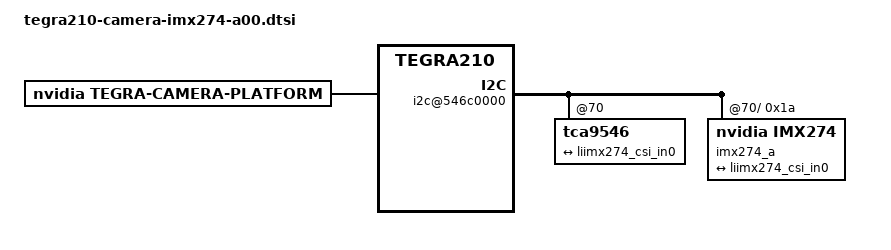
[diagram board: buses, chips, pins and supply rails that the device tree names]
/*
 * Copyright (c) 2016-2017, NVIDIA CORPORATION.  All rights reserved.
 *
 * This program is free software; you can redistribute it and/or modify
 * it under the terms of the GNU General Public License as published by
 * the Free Software Foundation; either version 2 of the License, or
 * (at your option) any later version.
 *
 * This program is distributed in the hope that it will be useful, but WITHOUT
 * ANY WARRANTY; without even the implied warranty of MERCHANTABILITY or
 * FITNESS FOR A PARTICULAR PURPOSE.  See the GNU General Public License for
 * more details.
 *
 * You should have received a copy of the GNU General Public License
 * along with this program.  If not, see <http://www.gnu.org/licenses/>.
 */

#include <dt-bindings/media/camera.h>
#include <dt-bindings/platform/t210/t210.h>

/ {
	host1x {
		vi {
			num-channels = <1>;
			ports {
				#address-cells = <1>;
				#size-cells = <0>;
				port@0 {
					reg = <0>;
					liimx274_vi_in0: endpoint {
						csi-port = <0>;
						bus-width = <4>;
						remote-endpoint = <&liimx274_csi_out0>;
					};
				};
			};
		};

		nvcsi {
			num-channels = <1>;
			#address-cells = <1>;
			#size-cells = <0>;
			channel@0 {
				reg = <0>;
				ports {
					#address-cells = <1>;
					#size-cells = <0>;
					port@0 {
						reg = <0>;
						liimx274_csi_in0: endpoint@0 {
							csi-port = <0>;
							bus-width = <4>;
							remote-endpoint = <&liimx274_imx274_out0>;
						};
					};
					port@1 {
						reg = <1>;
						liimx274_csi_out0: endpoint@1 {
							remote-endpoint = <&liimx274_vi_in0>;
						};
					};
				};
			};
		};

		i2c@546c0000 {
			tca9546@70 {
				i2c@0 {
					imx274_a@1a {
						compatible = "nvidia,imx274";
						/* I2C device address */
						reg = <0x1a>;

						/* Physical dimensions of sensor */
						physical_w = "3.674";
						physical_h = "2.738";

						/* Define any required hw resources needed by driver */
						/* ie. clocks, io pins, power sources */
						avdd-reg = "vana";
						iovdd-reg = "vif";
						dvdd-reg = "vdig";

						/* Defines number of frames to be dropped by driver internally after applying */
						/* sensor crop settings. Some sensors send corrupt frames after applying */
						/* crop co-ordinates */
						/*post_crop_frame_drop = "0";*/

						/* if true, delay gain setting by one frame to be in sync with exposure */
						delayed_gain = "true";

						/**
						* A modeX node is required to support v4l2 driver
						* implementation with NVIDIA camera software stack
						*
						* mclk_khz = "";
						* Standard MIPI driving clock, typically 24MHz
						*
						* num_lanes = "";
						* Number of lane channels sensor is programmed to output
						*
						* tegra_sinterface = "";
						* The base tegra serial interface lanes are connected to
						*
						* discontinuous_clk = "";
						* The sensor is programmed to use a discontinuous clock on MIPI lanes
						*
						* dpcm_enable = "true";
						* The sensor is programmed to use a DPCM modes
						*
						* cil_settletime = "";
						* MIPI lane settle time value.
						* A "0" value attempts to autocalibrate based on mclk_multiplier
						*
						* active_w = "";
						* Pixel active region width
						*
						* active_h = "";
						* Pixel active region height
						*
						* pixel_t = "";
						* The sensor readout pixel pattern
						*
						* readout_orientation = "0";
						* Based on camera module orientation.
						* Only change readout_orientation if you specifically
						* Program a different readout order for this mode
						*
						* line_length = "";
						* Pixel line length (width) for sensor mode.
						* This is used to calibrate features in our camera stack.
						*
						* mclk_multiplier = "";
						* Multiplier to MCLK to help time hardware capture sequence
						* TODO: Assign to PLL_Multiplier as well until fixed in core
						*
						* pix_clk_hz = "";
						* Sensor pixel clock used for calculations like exposure and framerate
						*
						* inherent_gain = "";
						* Gain obtained inherently from mode (ie. pixel binning)
						*
						* min_gain_val = ""; (floor to 6 decimal places)
						* max_gain_val = ""; (floor to 6 decimal places)
						* gain_step_pitch = ""; (floor to 6 decimal places, unit is db)
						* Gain limits for mode
						*
						* min_exp_time = ""; (ceil to integer)
						* max_exp_time = ""; (ceil to integer)
						* exp_time_1h = ""; (ceil to integer)
						* Exposure Time limits for mode (us)
						*
						*
						* min_hdr_ratio = "";
						* max_hdr_ratio = "";
						* HDR Ratio limits for mode
						*
						* min_framerate = "";
						* max_framerate = "";
						* Framerate limits for mode (fps)
						*
						* embedded_metadata_height = "";
						* Sensor embedded metadata height in units of rows.
						* If sensor does not support embedded metadata value should be 0.
						*
						* num_of_exposure = "";
						* Digital overlap(Dol) frames
						*
						* num_of_ignored_lines = "";
						* Used for cropping, eg. OB lines
						*
						* num_of_lines_offset_0 = "";
						* Used for cropping, vertical blanking in front of short exposure data
						* If more Dol frames are used, it can be extended, eg. num_of_lines_offset1
						*
						* num_of_ignored_pixels = "";
						* Used for cropping, The length of line info(pixels)
						*
						*/
						mode0 { // IMX274_MODE_3840X2160
							mclk_khz = "24000";
							num_lanes = "4";
							tegra_sinterface = "serial_a";
							discontinuous_clk = "yes";
							dpcm_enable = "false";
							cil_settletime = "0";

							active_w = "3840";
							active_h = "2160";
							pixel_t = "bayer_rggb";
							readout_orientation = "90";
							line_length = "4200";
							inherent_gain = "1";
							mclk_multiplier = "25";
							pix_clk_hz = "756000000";

							min_gain_val = "1.0";
							max_gain_val = "44.4";
							gain_step_pitch = "0.1";
							min_hdr_ratio = "1";
							max_hdr_ratio = "64";
							min_framerate = "1.462526";
							max_framerate = "30";
							min_exp_time = "16.165";
							max_exp_time = "165770";
							exp_time_1h = "6";
						};
						mode1 { // IMX274_MODE_1920X1080
							mclk_khz = "24000";
							num_lanes = "4";
							tegra_sinterface = "serial_a";
							discontinuous_clk = "yes";
							dpcm_enable = "false";
							cil_settletime = "0";
							dynamic_pixel_bit_depth = "10";
							csi_pixel_bit_depth = "10";
							mode_type = "bayer";
							pixel_phase = "rggb";

							active_w = "1920";
							active_h = "1080";
							readout_orientation = "0";
							line_length = "4160";
							inherent_gain = "1";
							mclk_multiplier = "24";
							pix_clk_hz = "576000000";

							min_gain_val = "1.0";
							max_gain_val = "177";
							gain_step_pitch = "0.1";
							min_hdr_ratio = "1";
							max_hdr_ratio = "1";
							min_framerate = "1.5";
							max_framerate = "60";
							min_exp_time = "58";
							max_exp_time = "184611";
							exp_time_1h = "8";
						};
						mode2 { // IMX274_MODE_3840X2160_DOL_30FPS
							mclk_khz = "24000";
							num_lanes = "4";
							tegra_sinterface = "serial_a";
							discontinuous_clk = "yes";
							dpcm_enable = "false";
							cil_settletime = "0";
							dynamic_pixel_bit_depth = "10";
							csi_pixel_bit_depth = "10";
							mode_type = "bayer_wdr_dol";
							pixel_phase = "rggb";

							active_w = "3844";
							active_h = "4436";
							readout_orientation = "0";
							line_length = "4208";
							inherent_gain = "1";
							mclk_multiplier = "24";
							pix_clk_hz = "576000000";

							min_gain_val = "1.0";
							max_gain_val = "177";
							gain_step_pitch = "0.1";
							min_hdr_ratio = "1";
							max_hdr_ratio = "256";
							min_framerate = "1.5";
							max_framerate = "30";
							min_exp_time = "57";
							max_exp_time = "665800";
							exp_time_1h = "8";

							num_of_exposure = "2";
							num_of_ignored_lines = "8";
							num_of_lines_offset_0 = "50";
							num_of_ignored_pixels = "4";
						};
						mode3 { // IMX274_MODE_1920X1080_DOL_60FPS
							mclk_khz = "24000";
							num_lanes = "4";
							tegra_sinterface = "serial_a";
							discontinuous_clk = "yes";
							dpcm_enable = "false";
							cil_settletime = "0";
							dynamic_pixel_bit_depth = "10";
							csi_pixel_bit_depth = "10";
							mode_type = "bayer_wdr_dol";
							pixel_phase = "rggb";

							active_w = "1924";
							active_h = "2252";
							readout_orientation = "0";
							line_length = "4160";
							inherent_gain = "1";
							mclk_multiplier = "24";
							pix_clk_hz = "576000000";

							min_gain_val = "1.0";
							max_gain_val = "177";
							gain_step_pitch = "0.1";
							min_hdr_ratio = "1";
							max_hdr_ratio = "256";
							min_framerate = "1.5";
							max_framerate = "60";
							min_exp_time = "56";
							max_exp_time = "666479";
							exp_time_1h = "8";

							num_of_exposure = "2";
							num_of_ignored_lines = "8";
							num_of_lines_offset_0 = "38";
							num_of_ignored_pixels = "4";
						};
						ports {
							#address-cells = <1>;
							#size-cells = <0>;
							port@0 {
								reg = <0>;
								liimx274_imx274_out0: endpoint {
									csi-port = <0>;
									bus-width = <4>;
									remote-endpoint = <&liimx274_csi_in0>;
								};
							};
						};
					};
				};
			};
		};
	};
	lens_imx274@A6V26 {
		min_focus_distance = "0.0";
		hyper_focal = "0.0";
		focal_length = "5.00";
		f_number = "2.0";
		aperture = "2.2";
	};
};

/ {

	tegra-camera-platform {
		compatible = "nvidia, tegra-camera-platform";
		/**
		* Physical settings to calculate max ISO BW
		*
		* num_csi_lanes = <>;
		* Total number of CSI lanes when all cameras are active
		*
		* max_lane_speed = <>;
		* Max lane speed in Kbit/s
		*
		* min_bits_per_pixel = <>;
		* Min bits per pixel
		*
		* vi_peak_byte_per_pixel = <>;
		* Max byte per pixel for the VI ISO case
		*
		* vi_bw_margin_pct = <>;
		* Vi bandwidth margin in percentage
		*
		* max_pixel_rate = <>;
		* Max pixel rate in Kpixel/s for the ISP ISO case
		*
		* isp_peak_byte_per_pixel = <>;
		* Max byte per pixel for the ISP ISO case
		*
		* isp_bw_margin_pct = <>;
		* Isp bandwidth margin in percentage
		*/
		num_csi_lanes = <4>;
		max_lane_speed = <1500000>;
		min_bits_per_pixel = <10>;
		vi_peak_byte_per_pixel = <2>;
		vi_bw_margin_pct = <25>;
		max_pixel_rate = <750000>;
		isp_peak_byte_per_pixel = <5>;
		isp_bw_margin_pct = <25>;

		/**
		 * The general guideline for naming badge_info contains 3 parts, and is as follows,
		 * The first part is the camera_board_id for the module; if the module is in a FFD
		 * platform, then use the platform name for this part.
		 * The second part contains the position of the module, ex. "rear" or "front".
		 * The third part contains the last 6 characters of a part number which is found
		 * in the module's specsheet from the vender.
		 */
		modules {
			module0 {
				badge = "imx274_bottom_A6V26";
				position = "bottom";
				orientation = "1";
				drivernode0 {
					/* Declare PCL support driver (classically known as guid)  */
					pcl_id = "v4l2_sensor";
					/* Driver v4l2 device name */
					devname = "imx274 30-001a";
					/* Declare the device-tree hierarchy to driver instance */
					proc-device-tree = "/proc/device-tree/host1x/i2c@546c0000/tca9546@70/i2c@0/imx274_a@1a";
				};
				drivernode1 {
					/* Declare PCL support driver (classically known as guid)  */
					pcl_id = "v4l2_lens";
					proc-device-tree = "/proc/device-tree/lens_imx274@A6V26/";
				};
			};
		};
	};
};
